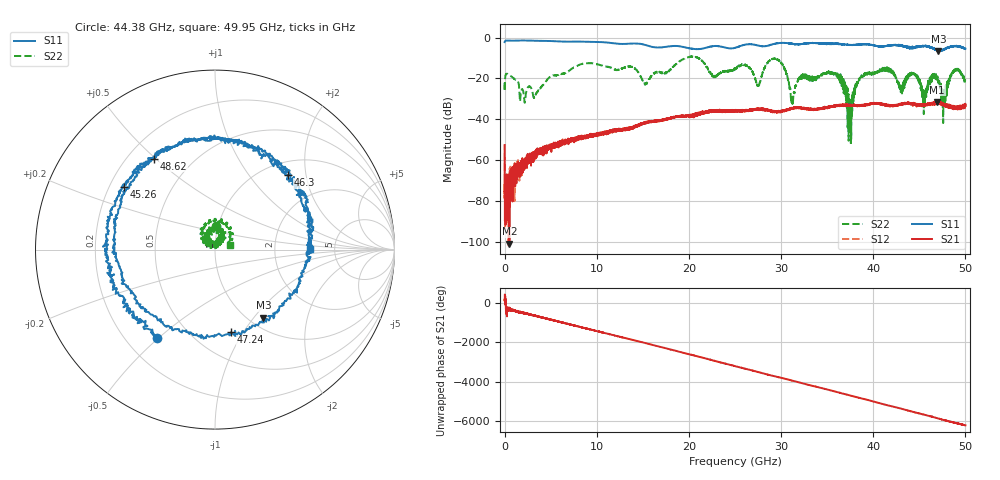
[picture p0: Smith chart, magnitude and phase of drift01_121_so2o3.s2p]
!Created with skrf (http://scikit-rf.org).
# Hz S RI R 50.0
!freq ReS11 ImS11 ReS21 ImS21 ReS12 ImS12 ReS22 ImS22
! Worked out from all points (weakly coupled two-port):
!   10001 points, 300 kHz to 50 GHz, reference 50 ohm
!   highest |S21| = -31.47 dB at 46.94 GHz (marker M1); lowest = -101.0 dB at 520.3 MHz (marker M2)
!   lowest |S11| = -6.6 dB at 47.07 GHz (marker M3), VSWR 2.74, Z = 58 - j56 ohm
!   |S11| at or under -10 dB: nowhere
!   |S22| runs from -52.7 to -9.2 dB; largest |S21 - S12| = 0.0038
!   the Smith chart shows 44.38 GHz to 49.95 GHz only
!   S11 on the Smith chart (normalised r, x): 44.38 GHz: 0.33, -0.49; 45.26 GHz: 0.26, +0.29; 46.3 GHz: 1.26, +1.58; 47.24 GHz: 0.75, -0.89; 48.62 GHz: 0.31, +0.50; 49.95 GHz: 3.27, +0.03
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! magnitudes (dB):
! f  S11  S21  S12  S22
! 300 kHz  -2.1  -52.7  -56.8  -22.1
! 520.3 MHz  -1.5  -101.0  -77.4  -18.3
! 3.29 GHz  -1.5  -57.4  -57.9  -28.8
! 8.335 GHz  -1.9  -48.5  -48.8  -12.9
! 16.67 GHz  -4.8  -41.0  -40.7  -16.7
! 25 GHz  -5.0  -35.7  -35.8  -15.4
! 29.59 GHz  -2.7  -36.4  -36.3  -10.6
! 31.24 GHz  -2.9  -34.8  -34.6  -32.5
! 33.34 GHz  -2.6  -35.3  -35.0  -20.0
! 36.2 GHz  -2.9  -33.2  -33.4  -18.9
! 37.47 GHz  -3.6  -32.9  -33.2  -34.2
! 38.65 GHz  -3.3  -33.2  -33.3  -19.8
! 41.67 GHz  -3.8  -32.8  -33.3  -16.1
! 44.38 GHz  -4.6  -32.4  -32.5  -17.7
! 45.26 GHz  -4.3  -32.8  -32.9  -24.7
! 46.3 GHz  -4.7  -32.1  -32.1  -20.0
! 46.94 GHz  -6.3  -31.5  -32.3  -19.5
! 47.07 GHz  -6.6  -31.7  -31.7  -22.2
! 47.24 GHz  -6.6  -32.5  -32.1  -24.8
! 48.62 GHz  -4.3  -34.3  -34.0  -17.1
! 49.95 GHz  -5.5  -33.5  -33.2  -21.1
! 50 GHz  -5.4  -33.3  -33.4  -21.7
